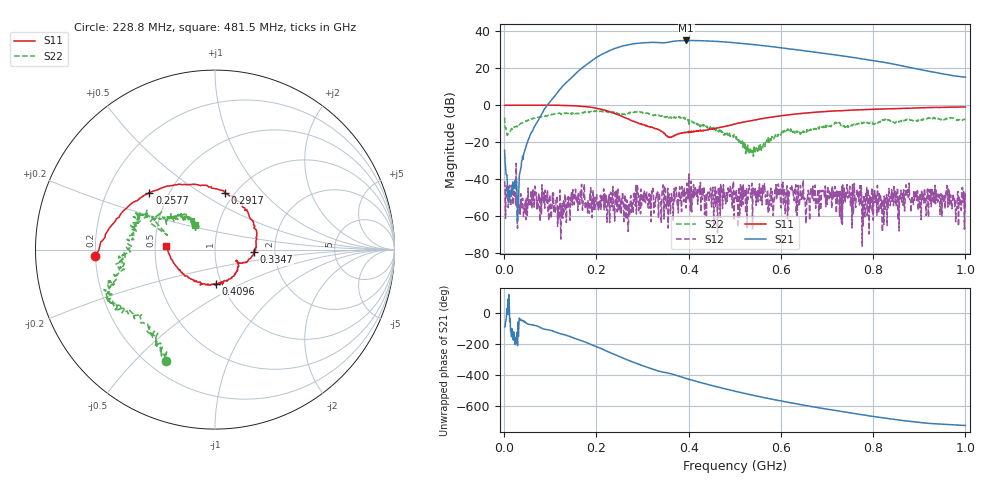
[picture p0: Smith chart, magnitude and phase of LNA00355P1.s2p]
! Created with skrf 1.9.0 (http://scikit-rf.org).
# Hz S RI R 50.0
!freq ReS11 ImS11 ReS21 ImS21 ReS12 ImS12 ReS22 ImS22
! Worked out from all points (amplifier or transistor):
!   1001 points, 1 MHz to 1 GHz, reference 50 ohm
!   highest |S21| = 35.0 dB at 394.6 MHz (marker M1)
!   |S21| within 3 dB of that: 257.2 MHz to 568.4 MHz (311.2 MHz wide, 75.4 % of centre)
!   unconditionally stable (mu >= 1): 3.623 MHz to 78.81 MHz; 243.8 MHz to 285.5 MHz; 289.3 MHz to end of sweep (the widest 3 of 32)
!   at 166.8 MHz: K = 1.83, MAG = 29.6 dB, |S12| = -50.0 dB
!   at 500.5 MHz: K = 2.09, MAG = 34.5 dB, |S12| = -47.0 dB
!   at 1 GHz: K = 10.54, MAG = 23.3 dB, |S12| = -57.8 dB
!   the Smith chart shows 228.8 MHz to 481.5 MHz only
!   S11 on the Smith chart (normalised r, x): 228.8 MHz: 0.20, -0.03; 257.7 MHz: 0.39, +0.32; 291.7 MHz: 0.90, +0.64; 334.7 MHz: 1.56, -0.05; 409.6 MHz: 0.94, -0.37; 481.5 MHz: 0.57, +0.03
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1000000  0.984 0.00158  0.00118 -0.0602  -0.00822 -0.00316  0.3462 0.3117
1.08892e8  0.5118 -0.8521  -0.8189 -1.523  -0.00208 0.000418  0.4298 -0.382
1.67833e8  -0.2486 -0.8974  -9.936 -0.5381  -0.00271 -0.00669  0.0316 -0.6323
2.03797e8  -0.6539 -0.47  -15.97 13.43  0.00103 -0.0012  -0.1787 -0.6622
2.28772e8  -0.6663 -0.0363  -8.911 28.43  0.000507 -0.000426  -0.2734 -0.6203
2.57743e8  -0.3651 0.3175  13.09 37.97  0.00164 0.00233  -0.3844 -0.4147
2.75725e8  -0.132 0.3627  29.35 33.88  -0.000993 -0.00076  -0.5537 -0.3032
2.91709e8  0.0543 0.3176  40.71 24.91  -0.000445 -0.00134  -0.5821 -0.2528
3.13687e8  0.2089 0.1614  49.36 6.165  0.00109 0.0028  -0.5497 -0.167
3.34666e8  0.218 -0.0153  48.33 -10.6  -0.000731 0.000492  -0.5359 -0.0524
3.68632e8  0.1314 -0.0772  43.68 -31.71  -0.00353 0.00439  -0.4389 0.1326
3.94606e8  0.0755 -0.1648  28.18 -48.92  0.000479 0.00158  -0.3931 0.1756
4.09591e8  0.0028 -0.1902  16.45 -53.76  0.00161 0.00263  -0.2938 0.1709
4.43557e8  -0.1632 -0.1468  -9.802 -53.54  0.00094 0.003  -0.1723 0.1876
4.81519e8  -0.2708 0.022  -32.12 -39.77  0.0026 0.00226  -0.1116 0.1352
5.005e8  -0.2803 0.1287  -38.9 -29.89  -0.00151 0.00421  -0.0874 0.1192
5.4046e8  -0.2004 0.336  -42.7 -8.38  0.00214 -0.00414  -0.0404 0.00924
5.88412e8  0.014 0.4927  -35.33 11.97  -0.000178 -0.00408  -0.1337 -0.0839
6.67333e8  0.3931 0.4965  -13.18 24.35  0.00179 -0.00452  -0.209 -0.0759
7.53247e8  0.6753 0.2802  4.507 19.24  -0.00255 -0.00344  -0.2855 -0.0214
8.34166e8  0.7971 0.0151  10.34 8.974  0.000104 -0.00556  -0.3894 -0.00578
1e9  0.7261 -0.5298  5.749 -0.2681  -0.00094 0.000876  -0.264 0.3118
